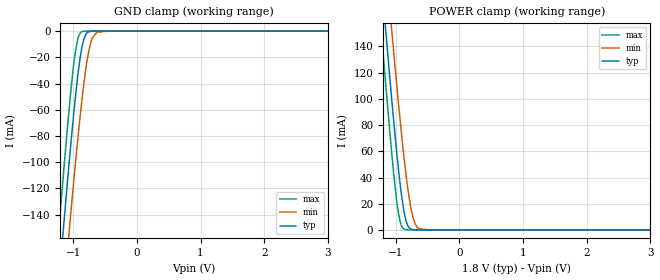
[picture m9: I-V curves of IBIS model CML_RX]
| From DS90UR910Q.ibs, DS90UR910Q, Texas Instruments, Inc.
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|   Model
[Model]   CML_RX
Model_type   Input
Vinl = 1.0
Vinh = 1.2
|   typ   min   max
C_comp   1.310pF   1.252pF   1.334pF
[Voltage Range]   1.8   1.71   1.89
[Temperature Range]   25   105   -40
[Power Clamp Reference]   1.8   1.71   1.89
[GND Clamp Reference]   -0   0   -0
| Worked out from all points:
|   GND clamp passes 1 mA (typ) near -0.77 V on its own axis
|   POWER clamp passes 1 mA (typ) near -0.77 V on its own axis
[GND Clamp]
|   Voltage   I(typ)   I(min)   I(max)
-1.8V     -540.4mA   -580.5mA   -509.7mA
-1.222V   -190.4mA   -241.5mA   -149.8mA
-1.174V   -162.2mA   -213.9mA   -121mA
-1.141V   -143.7mA   -195.8mA   -102.2mA
-1.071V   -104.5mA   -157mA     -63.22mA
-973.8mV  -54.35mA   -105.5mA   -18.47mA
-925.2mV  -32.89mA   -81.17mA   -5.54mA
-865.8mV  -13.11mA   -53.76mA   -504.4uA
-817.2mV  -4.114mA   -34.28mA   -48.21uA
-741.6mV  -311.1uA   -12.29mA   -1.152uA
-628.2mV  -4.008uA   -854.8uA   0A
3.595V    0A         0A         0A
[POWER Clamp]
|   Voltage   I(typ)   I(min)   I(max)
-1.8V     540.4mA    580.5mA    509.7mA
-1.222V   190.4mA    241.5mA    149.8mA
-1.168V   159.1mA    210.9mA    117.8mA
-1.141V   143.7mA    195.8mA    102.2mA
-1.071V   104.5mA    157mA      63.22mA
-995.4mV  64.87mA    116.6mA    26.76mA
-952.2mV  44.38mA    94.51mA    11.65mA
-865.8mV  13.11mA    53.76mA    504.4uA
-817.2mV  4.114mA    34.28mA    48.21uA
-741.6mV  311.1uA    12.29mA    0A
-628.2mV  4.008uA    854.8uA    0A
3.595V    0A         0A         0A
